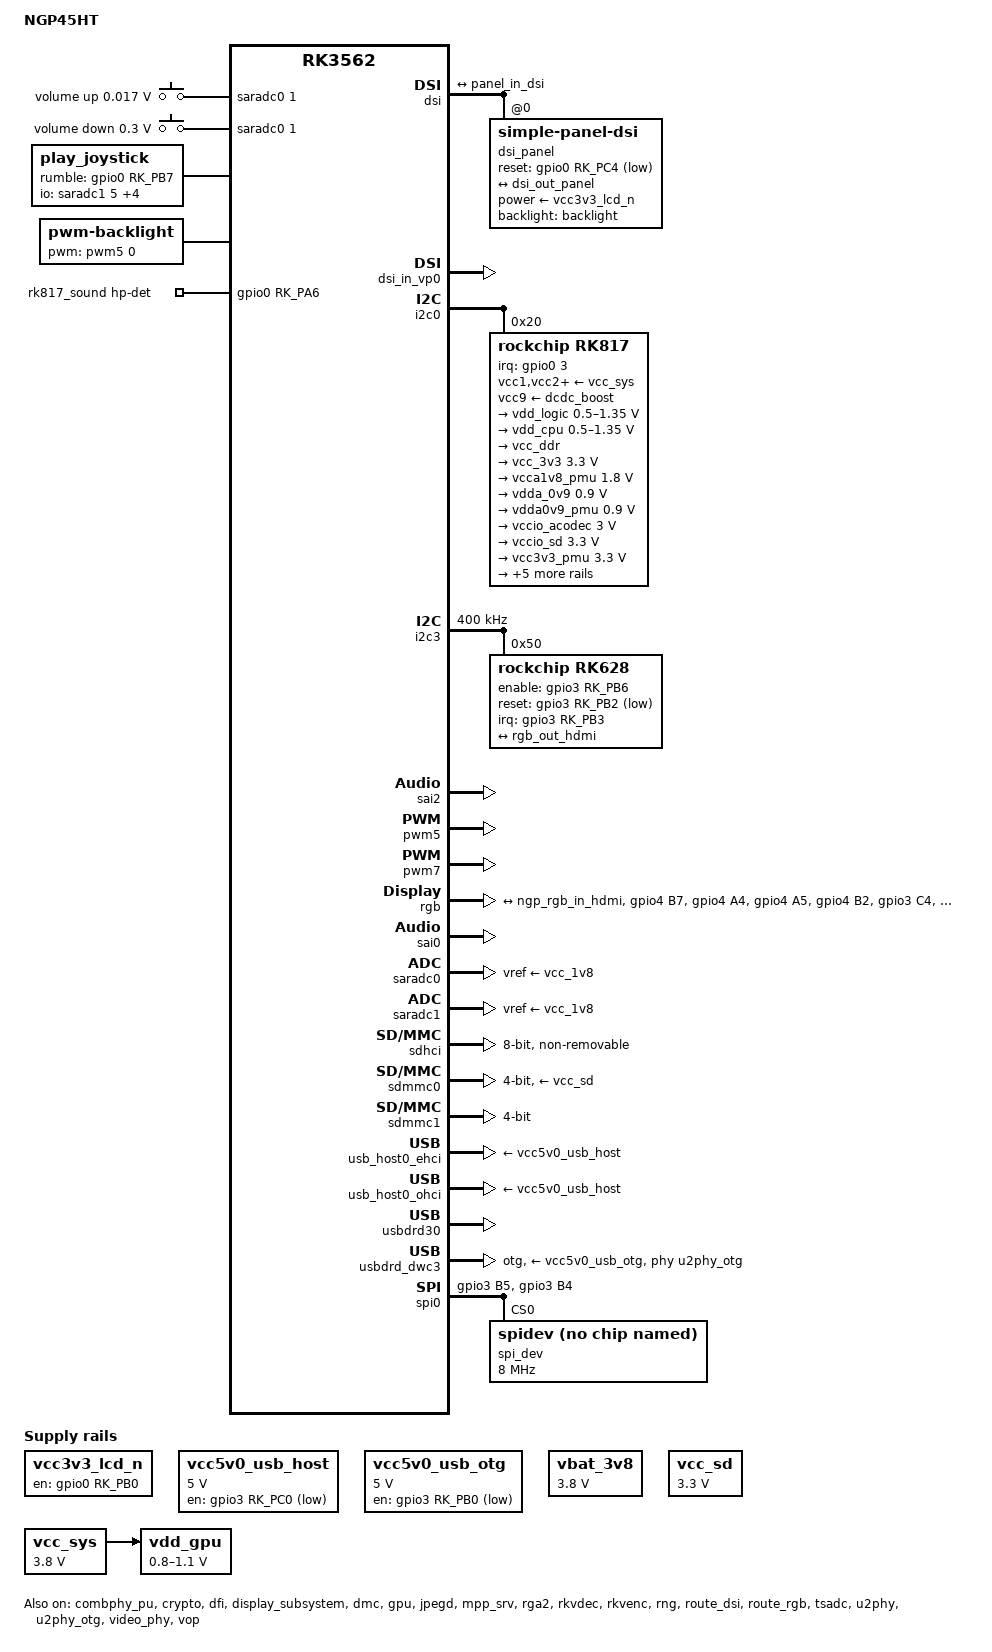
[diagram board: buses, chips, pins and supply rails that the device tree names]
// SPDX-License-Identifier: (GPL-2.0+ OR MIT)
/*
* Copyright (c) 2024 dArkOS Contributors
*
* Shared device tree include for dArkOS gaming handhelds based on
* Rockchip RK3562 with RK817 PMIC.  Included by both rk3562-rg52mini.dts
* (portrait 720x1280 panel) and rk3562-rg43h.dts (landscape 1024x768 panel).
*
* Per-device DTS files override:
*   - vcc3v3_lcd_n (gpios, enable-active-*, pinctrl-0)
*   - DSI panel (panel-init-sequence, display-timings, power-supply/enable-gpios, pinctrl-0)
*   - play_joystick node (entirely per-device)
*/

/dts-v1/;
#include "rk3562.dtsi"
#include "rk3562-linux.dtsi"
#include <dt-bindings/display/drm_mipi_dsi.h>
#include <dt-bindings/gpio/gpio.h>
#include <dt-bindings/input/input.h>
#include <dt-bindings/pinctrl/rockchip.h>

/ {
	model = "NGP45HT";
	compatible = "ngp45ht", "rockchip,rk3562";
	
	adc_keys: adc-keys {
		compatible = "adc-keys";
		io-channels = <&saradc0 1>;
		io-channel-names = "buttons";
		keyup-threshold-microvolt = <1800000>;
		poll-interval = <100>;
		autorepeat;
		/* 窗口判定半宽 (微伏): 只有落在标称电压 +/-100mV 内才算按下 */
		adc-keys,drift-microvolt = <100000>;
		
		vol-up-key {
			label = "volume up";
			linux,code = <KEY_VOLUMEUP>;
			press-threshold-microvolt = <17000>;
		};
		
		vol-down-key {
			label = "volume down";
			linux,code = <KEY_VOLUMEDOWN>;
			press-threshold-microvolt = <300000>;
		};
		
	};
	
	play_joystick {
		compatible = "play_joystick";
		pinctrl-names = "default";
		pinctrl-0 = <&gpio_key_pin &moto_gpio>;
		io-channels = <&saradc1 5>, <&saradc1 4>,
		<&saradc1 7>, <&saradc1 6>, <&saradc0 1>;
		io-channel-names = "joy_x", "joy_y", "joy_rx", "joy_ry",
				   "back-key";
		
		poll-interval = <30>;
		axis-min-value-mv = <250>;
		axis-max-value-mv = <1550>;
		axis-dead-zone-l = <790>;
		axis-dead-zone-h = <1010>;
		invert-absx;
		invert-absrx;
		rumble-gpios = <&gpio0 RK_PB7 GPIO_ACTIVE_HIGH>;
		
	sw1  { label = "BTN_R1";   gpios = <&gpio1 RK_PD3 GPIO_ACTIVE_LOW>; linux,code = <BTN_TR>; };
	sw2  { label = "BTN_R2";   gpios = <&gpio1 RK_PD4 GPIO_ACTIVE_LOW>; linux,code = <BTN_TR2>; };
	sw3  { label = "BTN_L1";   gpios = <&gpio1 RK_PD1 GPIO_ACTIVE_LOW>; linux,code = <BTN_TL>; };
	sw4  { label = "BTN_L2";   gpios = <&gpio1 RK_PD2 GPIO_ACTIVE_LOW>; linux,code = <BTN_TL2>; };
	sw5  { label = "BTN_A";    gpios = <&gpio0 RK_PC3 GPIO_ACTIVE_LOW>; linux,code = <BTN_EAST>; };
	sw6  { label = "BTN_B";    gpios = <&gpio0 RK_PC5 GPIO_ACTIVE_LOW>; linux,code = <BTN_SOUTH>; };
	sw7  { label = "BTN_X";    gpios = <&gpio2 RK_PA0 GPIO_ACTIVE_LOW>; linux,code = <BTN_NORTH>; };
	sw8  { label = "BTN_Y";    gpios = <&gpio2 RK_PA1 GPIO_ACTIVE_LOW>; linux,code = <BTN_WEST>; };
	sw9  { label = "BTN_DPAD_LEFT";  gpios = <&gpio0 RK_PB5 GPIO_ACTIVE_LOW>; linux,code = <BTN_DPAD_LEFT>; };
	sw10 { label = "BTN_DPAD_RIGHT"; gpios = <&gpio0 RK_PB6 GPIO_ACTIVE_LOW>; linux,code = <BTN_DPAD_RIGHT>; };
	sw11 { label = "BTN_DPAD_UP";    gpios = <&gpio0 RK_PB3 GPIO_ACTIVE_LOW>; linux,code = <BTN_DPAD_UP>; };
	sw12 { label = "BTN_DPAD_DOWN";  gpios = <&gpio0 RK_PB4 GPIO_ACTIVE_LOW>; linux,code = <BTN_DPAD_DOWN>; };
	sw13 { label = "BTN_SELECT";     gpios = <&gpio0 RK_PA5 GPIO_ACTIVE_LOW>; linux,code = <BTN_SELECT>; };
	sw14 { label = "BTN_START";      gpios = <&gpio3 RK_PA6 GPIO_ACTIVE_LOW>; linux,code = <BTN_START>; };
	sw15 { label = "BTN_HOME";       gpios = <&gpio1 RK_PC7 GPIO_ACTIVE_LOW>; linux,code = <BTN_MODE>; };
	sw16 { label = "BTN_L3";         gpios = <&gpio0 RK_PC6 GPIO_ACTIVE_LOW>; linux,code = <BTN_THUMBL>; };
	sw17 { label = "BTN_R3";         gpios = <&gpio0 RK_PC7 GPIO_ACTIVE_LOW>; linux,code = <BTN_THUMBR>; };

	/* FN/BACK 与音量键共用 saradc0 通道 1: 音量键由 adc-keys 按窗口处理,
	 * FN 只在这个区间 (640mV..1300mV) 里由手柄驱动上报, 互不误触. */
	back-key {
		label = "BTN_FN";
		linux,code = <BTN_TRIGGER_HAPPY1>;
		press-min-microvolt = <640000>;
		press-threshold-microvolt = <1300000>;
	};
	};
	
	backlight: backlight {
		compatible = "pwm-backlight";
		pwms = <&pwm5 0 25000 0>;
		brightness-levels = <
		0  20  20  21  21  22  22  23
		23  24  24  25  25  26  26  27
		27  28  28  29  29  30  30  31
		31  32  32  33  33  34  34  35
		35  36  36  37  37  38  38  39
		40  41  42  43  44  45  46  47
		48  49  50  51  52  53  54  55
		56  57  58  59  60  61  62  63
		64  65  66  67  68  69  70  71
		72  73  74  75  76  77  78  79
		80  81  82  83  84  85  86  87
		88  89  90  91  92  93  94  95
		96  97  98  99 100 101 102 103
		104 105 106 107 108 109 110 111
		112 113 114 115 116 117 118 119
		120 121 122 123 124 125 126 127
		128 129 130 131 132 133 134 135
		136 137 138 139 140 141 142 143
		144 145 146 147 148 149 150 151
		152 153 154 155 156 157 158 159
		160 161 162 163 164 165 166 167
		168 169 170 171 172 173 174 175
		176 177 178 179 180 181 182 183
		184 185 186 187 188 189 190 191
		192 193 194 195 196 197 198 199
		200 201 202 203 204 205 206 207
		208 209 210 211 212 213 214 215
		216 217 218 219 220 221 222 223
		224 225 226 227 228 229 230 231
		232 233 234 235 236 237 238 239
		240 241 242 243 244 245 246 247
		248 249 250 251 252 253 254 255
		>;
		default-brightness-level = <200>;
	};

	power-leds {
		compatible = "led-3562";
		battery-threshold = <20>;

		led-red {
			label = "red";
			gpios = <&gpio3 RK_PC2 GPIO_ACTIVE_HIGH>;
			on-below-threshold;
		};

		led-blue {
			label = "blue";
			gpios = <&gpio3 RK_PC1 GPIO_ACTIVE_HIGH>;
		};

	};
	
	pdm_codec: dummy-codec {
		status = "okay";
		compatible = "rockchip,dummy-codec";
		#sound-dai-cells = <0>;
	};
	
	pdm_mic_array: pdm-mic-array {
		status = "disabled";
		compatible = "simple-audio-card";
		simple-audio-card,name = "rockchip,pdm-mic-array";
		
		simple-audio-card,cpu {
			sound-dai = <&pdm>;
		};
		
		simple-audio-card,codec {
			sound-dai = <&pdm_codec>;
		};
	};
	
	spdif_out: spdif-out {
		status = "disabled";
		compatible = "linux,spdif-dit";
		#sound-dai-cells = <0>;
	};
	
	spdif_sound: spdif-sound {
		status = "disabled";
		compatible = "simple-audio-card";
		simple-audio-card,name = "rk-spdif-sound";
		simple-audio-card,mclk-fs = <128>;
		
		simple-audio-card,cpu {
			sound-dai = <&spdif_8ch>;
		};
		
		simple-audio-card,codec {
			sound-dai = <&spdif_out>;
		};
	};
	
	test-power {
		status = "okay";
	};
	
	/*
	* LCD voltage regulator skeleton.  Per-device DTS files add gpios,
	* enable-active-low/high, pinctrl-0, and status = "okay".
	*/
	vcc3v3_lcd_n: vcc3v3-lcd0-n {
		compatible = "regulator-fixed";
		regulator-name = "vcc3v3_lcd_n";
		regulator-boot-on;
		gpios = <&gpio0 RK_PB0 GPIO_ACTIVE_HIGH>;
		enable-active-high;
		pinctrl-names = "default";
		pinctrl-0 = <&ngp_lcd_pwren>;
		status = "okay";
		
		regulator-state-mem {
			regulator-off-in-suspend;
		};
	};
	vcc5v0_usb_host: vcc5v0-usb-host {
		compatible = "regulator-fixed";
		regulator-name = "vcc5v0_usb_host";
		regulator-min-microvolt = <5000000>;
		regulator-max-microvolt = <5000000>;
		regulator-always-on;
		regulator-boot-on;
		gpios = <&gpio3 RK_PC0 GPIO_ACTIVE_LOW>;
		pinctrl-names = "default";
		pinctrl-0 = <&usb_host_pwren>;
	};
	vcc5v0_usb_otg: vcc5v0-usb-otg {
		compatible = "regulator-fixed";
		regulator-name = "vcc5v0_usb_otg";
		regulator-min-microvolt = <5000000>;
		regulator-max-microvolt = <5000000>;
		gpios = <&gpio3 RK_PB0 GPIO_ACTIVE_HIGH>;
		pinctrl-names = "default";
		pinctrl-0 = <&usb_otg_pwren>;
	};
	
	rk817_sound: rk817-sound {
		status = "okay";
		compatible = "rockchip,multicodecs-card";
		rockchip,card-name = "rockchip-rk817";
		rockchip,format = "i2s";
		rockchip,mclk-fs = <256>;
		rockchip,cpu = <&sai0>;
		rockchip,codec = <&rk817_codec>;
		pinctrl-names = "default";
		hp-det-gpio = <&gpio0 RK_PA6 GPIO_ACTIVE_HIGH>;
		pinctrl-0 = <&hp_det>;
		rockchip,audio-routing =
		"Headphone", "HPOL",
		"Headphone", "HPOR",
		"Speaker", "HPOL",
		"Speaker", "HPOR";
	};
	
	rk628_sound: rk628-sound {
		compatible = "simple-audio-card";
		simple-audio-card,format = "i2s";
		simple-audio-card,mclk-fs = <128>;
		simple-audio-card,name = "rockchip,hdmi-rk628";
		status = "okay";
		
		simple-audio-card,cpu {
			sound-dai = <&sai2>;
		};
		
		simple-audio-card,codec {
			sound-dai = <&rk628>;
		};
	};
	
	sdio_pwrseq: sdio-pwrseq {
		compatible = "mmc-pwrseq-simple";
		clocks = <&rk817 1>;
		clock-names = "ext_clock";
		pinctrl-names = "default";
		pinctrl-0 = <&wifi_enable_h>;
		post-power-on-delay-ms = <200>;
		reset-gpios = <&gpio0 RK_PB3 GPIO_ACTIVE_LOW>;
		status = "disabled";
	};
	
	vbat_3v8: vbat-3v8 {
		compatible = "regulator-fixed";
		regulator-name = "vbat_3v8";
		regulator-always-on;
		regulator-boot-on;
		regulator-min-microvolt = <3800000>;
		regulator-max-microvolt = <3800000>;
	};
	
	vcc_sd: vcc-sd {
		compatible = "regulator-fixed";
		regulator-boot-on;
		regulator-always-on;
		regulator-min-microvolt = <3300000>;
		regulator-max-microvolt = <3300000>;
		regulator-name = "vcc_sd";
	};
	
	vcc_sys: vcc-sys {
		compatible = "regulator-fixed";
		regulator-name = "vcc_sys";
		regulator-always-on;
		regulator-boot-on;
		regulator-min-microvolt = <3800000>;
		regulator-max-microvolt = <3800000>;
	};
	
	vdd_gpu: vdd-gpu {
		compatible = "pwm-regulator";
		pwms = <&pwm7 0 5000 1>;
		regulator-name = "vdd_gpu";
		regulator-min-microvolt = <800000>;
		regulator-max-microvolt = <1100000>;
		regulator-init-microvolt = <900000>;
		regulator-always-on;
		regulator-boot-on;
		regulator-settling-time-up-us = <250>;
		pwm-supply = <&vcc_sys>;
		status = "okay";
	};
	
	vdd_npu: vdd-npu {
		compatible = "pwm-regulator";
		pwms = <&pwm6 0 5000 1>;
		regulator-name = "vdd_npu";
		regulator-min-microvolt = <800000>;
		regulator-max-microvolt = <1100000>;
		regulator-init-microvolt = <900000>;
		regulator-settling-time-up-us = <250>;
		pwm-supply = <&vcc_sys>;
		status = "disabled";
	};
	
	led_vcc: led-vcc {
		compatible = "regulator-fixed";
		regulator-name = "vcc-led";
		
		status = "disabled";
	};
	
	wireless_wlan: wireless-wlan {
		compatible = "wlan-platdata";
		rockchip,grf = <&sys_grf>;
		/* Rev A is RK915, rev B is AIC8800D80. rfkill is the only consumer
		* and only prefix-matches "rtl..."; aic8800 binds by SDIO vendor ID.
		* "aic8800D80" matches the silicon (fmacfw_8800d80_h_u02.bin). */
		wifi_chip_type = "aic8800D80";
		pinctrl-names = "default";
		pinctrl-0 = <&wifi_host_wake_irq &wifi_poweren_gpio>;
		WIFI,host_wake_irq = <&gpio0 RK_PB4 GPIO_ACTIVE_HIGH>;
		WIFI,poweren_gpio = <&gpio0 RK_PA6 GPIO_ACTIVE_LOW>;
		sdio_vref = <1800>;
		status = "disabled";
	};
	
	wireless-bluetooth {
		compatible = "bluetooth-platdata";
		status = "disabled";
	};
	
	charge_anim: charge-animation {
		compatible = "rockchip,uboot-charge";
		rockchip,uboot-charge-on = <1>;
		rockchip,android-charge-on = <0>;
		rockchip,uboot-low-power-voltage = <3350>;
		rockchip,screen-on-voltage = <3400>;
		status = "okay";
	};
	
	rockchip_suspend: rockchip-suspend {
		compatible = "rockchip,pm-rk3562";
		status = "disabled";
		rockchip,sleep-debug-en = <1>;
		rockchip,sleep-mode-config = <0x5e2>;
		rockchip,wakeup-config = <0x10>;
	};
};

/* ---- SoC peripheral enables ------------------------------------------- */

&cpu0 {
	cpu-supply = <&vdd_cpu>;
};

&combphy_pu {
	status = "okay";
};

&crypto {
	status = "okay";
};

&dfi {
	status = "okay";
};

&display_subsystem {
	status = "okay";
};

&dmc {
	center-supply = <&vdd_logic>;
	status = "okay";
};

&dsi {
	status = "okay";
	rockchip,lane-rate = <480>;
	
	dsi_panel: panel@0 {
		status = "okay";
		compatible = "simple-panel-dsi";
		reg = <0>;
		backlight = <&backlight>;
		enable-delay-ms = <100>;
		reset-delay-ms = <100>;
		init-delay-ms = <120>;
		prepare-delay-ms = <20>;
		unprepare-delay-ms = <20>;
		disable-delay-ms = <20>;
		width-mm = <68>;
		height-mm = <121>;
		dsi,flags = <(MIPI_DSI_MODE_VIDEO | MIPI_DSI_MODE_VIDEO_BURST |
		MIPI_DSI_MODE_LPM | MIPI_DSI_MODE_EOT_PACKET)>;
		dsi,format = <MIPI_DSI_FMT_RGB888>;
		dsi,lanes = <4>;
		reset-gpios = <&gpio0 RK_PC4 GPIO_ACTIVE_LOW>;
		pinctrl-names = "default";
		pinctrl-0 = <&lcd_rst_gpio>;
		power-supply = <&vcc3v3_lcd_n>;
		
		/*
		* panel-init-sequence, power-supply / enable-gpios, and
		* pinctrl-0 are set per-device.
		*/
		panel-init-sequence = [
		15 00 02 ee 01
		15 00 02 ea 07
		15 00 02 eb 12
		15 00 02 0a 5e
		15 00 02 13 14
		15 00 02 17 35
		15 00 02 1d 33
		15 00 02 21 01
		15 00 02 28 28
		15 00 02 29 18
		15 00 02 2a 63
		15 00 02 2f f3
		15 00 02 ee 02
		15 00 02 39 a9
		15 00 02 00 00
		15 00 02 01 0d
		15 00 02 02 12
		15 00 02 03 08
		15 00 02 04 0e
		15 00 02 05 30
		15 00 02 06 0b
		15 00 02 07 0e
		15 00 02 08 0f
		15 00 02 09 0e
		15 00 02 0a 11
		15 00 02 0b 4e
		15 00 02 0c 14
		15 00 02 0d 1a
		15 00 02 0e 2f
		15 00 02 0f 36
		15 00 02 10 3f
		15 00 02 20 00
		15 00 02 21 0d
		15 00 02 22 12
		15 00 02 23 08
		15 00 02 24 0e
		15 00 02 25 30
		15 00 02 26 0b
		15 00 02 27 0e
		15 00 02 28 0f
		15 00 02 29 0e
		15 00 02 2a 11
		15 00 02 2b 4e
		15 00 02 2c 14
		15 00 02 2d 1a
		15 00 02 2e 2f
		15 00 02 2f 36
		15 00 02 30 3f
		15 00 02 ee 04
		15 00 02 00 05
		15 00 02 01 01
		15 00 02 02 80
		15 00 02 03 04
		15 00 02 04 00
		15 00 02 06 06
		15 00 02 07 05
		15 00 02 08 1a
		15 00 02 09 20
		15 00 02 0a 0e
		15 00 02 0b 00
		15 00 02 20 40
		15 00 02 24 08
		15 00 02 ee 05
		15 00 02 00 01
		15 00 02 01 09
		15 00 02 02 05
		15 00 02 03 05
		15 00 02 07 05
		15 00 02 08 0d
		15 00 02 09 00
		15 00 02 0a 12
		15 00 02 0b 14
		15 00 02 0c 66
		15 00 02 10 03
		15 00 02 11 07
		15 00 02 12 05
		15 00 02 13 05
		15 00 02 19 12
		15 00 02 1a f6
		15 00 02 40 55
		15 00 02 41 00
		15 00 02 43 03
		15 00 02 44 01
		15 00 02 45 81
		15 00 02 46 06
		15 00 02 47 00
		15 00 02 ee 06
		15 00 02 00 45
		15 00 02 02 01
		15 00 02 04 88
		15 00 02 06 cd
		15 00 02 08 ef
		15 00 02 09 cd
		15 00 02 0a ab
		15 00 02 0b 89
		15 00 02 0c 67
		15 00 02 0d 45
		15 00 02 0e 23
		15 00 02 0f 01
		15 00 02 ee 07
		15 00 02 00 3c
		15 00 02 01 3c
		15 00 02 02 3c
		15 00 02 03 3c
		15 00 02 04 0d
		15 00 02 05 3c
		15 00 02 06 3c
		15 00 02 07 3c
		15 00 02 08 08
		15 00 02 09 10
		15 00 02 0a 12
		15 00 02 0b 14
		15 00 02 0c 16
		15 00 02 0d 18
		15 00 02 0e 1a
		15 00 02 0f 1c
		15 00 02 10 1e
		15 00 02 11 04
		15 00 02 12 00
		15 00 02 13 3c
		15 00 02 14 0c
		15 00 02 15 3c
		15 00 02 20 3c
		15 00 02 21 3c
		15 00 02 22 3c
		15 00 02 23 3c
		15 00 02 24 0d
		15 00 02 25 3c
		15 00 02 26 3c
		15 00 02 27 3c
		15 00 02 28 08
		15 00 02 29 11
		15 00 02 2a 13
		15 00 02 2b 15
		15 00 02 2c 17
		15 00 02 2d 19
		15 00 02 2e 1b
		15 00 02 2f 1d
		15 00 02 30 1f
		15 00 02 31 05
		15 00 02 32 01
		15 00 02 33 3c
		15 00 02 34 0c
		15 00 02 35 3c
		15 00 02 ee 08
		15 00 02 10 00
		15 00 02 12 dc
		15 00 02 13 1c
		15 00 02 17 23
		15 00 02 18 20
		15 00 02 20 80
		15 00 02 ee 0f
		15 00 02 00 01
		15 00 02 01 00
		15 00 02 ee 00
		15 00 02 ea 00
		15 00 02 eb 00
		15 00 02 36 00
		05 c8 01 11
		05 14 01 29
		];
		panel-exit-sequence = [
		05 00 01 28
		05 00 01 10
		];
		
		disp_timings0: display-timings {
			native-mode = <&dsi_timing0>;
			
			/* Defaults from RG52 Mini; overridden per-device */
			dsi_timing0: timing0 {
				clock-frequency = <52000000>;
				hactive = <1024>;
				vactive = <768>;
				hfront-porch = <32>;
				hsync-len = <20>;
				hback-porch = <20>;
				vfront-porch = <8>;
				vsync-len = <4>;
				vback-porch = <6>;
				hsync-active = <0>;
				vsync-active = <0>;
				de-active = <0>;
				pixelclk-active = <0>;
			};
		};
		
		ports {
			#address-cells = <1>;
			#size-cells = <0>;
			
			port@0 {
				reg = <0>;
				
				panel_in_dsi: endpoint {
					remote-endpoint = <&dsi_out_panel>;
				};
			};
		};
	};
	
	ports {
		#address-cells = <1>;
		#size-cells = <0>;
		
		port@1 {
			reg = <1>;
			
			dsi_out_panel: endpoint {
				remote-endpoint = <&panel_in_dsi>;
			};
		};
	};
};

&dsi_in_vp0 {
	status = "okay";
};

&rgb_in_vp0 {
	status = "okay";
};

&gpu {
	status = "okay";
	mali-supply = <&vdd_gpu>;
};

&i2c0 {
	status = "okay";
	
	rk817: pmic@20 {
		compatible = "rockchip,rk817";
		reg = <0x20>;
		interrupt-parent = <&gpio0>;
		interrupts = <3 IRQ_TYPE_LEVEL_LOW>;
		
		pinctrl-names = "default", "pmic-sleep",
		"pmic-power-off", "pmic-reset";
		pinctrl-0 = <&pmic_int>;
		pinctrl-1 = <&soc_slppin_slp>, <&rk817_slppin_slp>;
		pinctrl-2 = <&soc_slppin_gpio>, <&rk817_slppin_pwrdn>;
		pinctrl-3 = <&soc_slppin_gpio>, <&rk817_slppin_rst>;
		rockchip,system-power-controller;
		wakeup-source;
		#clock-cells = <1>;
		clock-output-names = "rk808-clkout1", "rk808-clkout2";
		/* 1: rst regs (default in codes), 0: rst the pmic */
		pmic-reset-func = <0>;
		vcc1-supply = <&vcc_sys>;
		vcc2-supply = <&vcc_sys>;
		vcc3-supply = <&vcc_sys>;
		vcc4-supply = <&vcc_sys>;
		vcc5-supply = <&vcc_sys>;
		vcc6-supply = <&vcc_sys>;
		vcc7-supply = <&vcc_sys>;
		vcc8-supply = <&vcc_sys>;
		vcc9-supply = <&dcdc_boost>;
		pwrkey {
			status = "okay";
		};
		
		pinctrl_rk8xx: pinctrl_rk8xx {
			gpio-controller;
			#gpio-cells = <2>;
			
			rk817_slppin_null: rk817_slppin_null {
				pins = "gpio_slp";
				function = "pin_fun0";
			};
			
			rk817_slppin_slp: rk817_slppin_slp {
				pins = "gpio_slp";
				function = "pin_fun1";
			};
			
			rk817_slppin_pwrdn: rk817_slppin_pwrdn {
				pins = "gpio_slp";
				function = "pin_fun2";
			};
			
			rk817_slppin_rst: rk817_slppin_rst {
				pins = "gpio_slp";
				function = "pin_fun3";
			};
			
			rk817_ts_gpio1: rk817_ts_gpio1 {
				pins = "gpio_ts";
				function = "pin_fun1";
			};
			
			rk817_pin_ts: rk817_pin_ts {
				pins = "gpio_ts";
				function = "pin_fun0";
			};
		};
		
		regulators {
			vdd_logic: DCDC_REG1 {
				regulator-always-on;
				regulator-boot-on;
				regulator-min-microvolt = <500000>;
				regulator-max-microvolt = <1350000>;
				regulator-init-microvolt = <950000>;
				regulator-ramp-delay = <6001>;
				regulator-initial-mode = <0x2>;
				regulator-name = "vdd_logic";
				regulator-state-mem {
					regulator-off-in-suspend;
					regulator-suspend-microvolt = <900000>;
				};
			};
			
			vdd_cpu: DCDC_REG2 {
				regulator-always-on;
				regulator-boot-on;
				regulator-min-microvolt = <500000>;
				regulator-max-microvolt = <1350000>;
				regulator-init-microvolt = <1050000>;
				regulator-ramp-delay = <6001>;
				regulator-initial-mode = <0x2>;
				regulator-name = "vdd_cpu";
				regulator-state-mem {
					regulator-off-in-suspend;
				};
			};
			
			vcc_ddr: DCDC_REG3 {
				regulator-always-on;
				regulator-boot-on;
				regulator-initial-mode = <0x2>;
				regulator-name = "vcc_ddr";
				regulator-state-mem {
					regulator-on-in-suspend;
				};
			};
			
			vcc_3v3: DCDC_REG4 {
				regulator-always-on;
				regulator-boot-on;
				regulator-min-microvolt = <3300000>;
				regulator-max-microvolt = <3300000>;
				regulator-initial-mode = <0x2>;
				regulator-name = "vcc_3v3";
				regulator-state-mem {
					regulator-on-in-suspend;
					regulator-suspend-microvolt = <3300000>;
				};
			};
			
			vcca1v8_pmu: LDO_REG1 {
				regulator-always-on;
				regulator-boot-on;
				regulator-min-microvolt = <1800000>;
				regulator-max-microvolt = <1800000>;
				regulator-name = "vcca1v8_pmu";
				regulator-state-mem {
					regulator-on-in-suspend;
					regulator-suspend-microvolt = <1800000>;
				};
			};
			
			vdda_0v9: LDO_REG2 {
				regulator-always-on;
				regulator-boot-on;
				regulator-min-microvolt = <900000>;
				regulator-max-microvolt = <900000>;
				regulator-name = "vdda_0v9";
				regulator-state-mem {
					regulator-off-in-suspend;
				};
			};
			
			vdda0v9_pmu: LDO_REG3 {
				regulator-always-on;
				regulator-boot-on;
				regulator-min-microvolt = <900000>;
				regulator-max-microvolt = <900000>;
				regulator-name = "vdda0v9_pmu";
				regulator-state-mem {
					regulator-on-in-suspend;
					regulator-suspend-microvolt = <900000>;
				};
			};
			
			vccio_acodec: LDO_REG4 {
				regulator-always-on;
				regulator-boot-on;
				regulator-min-microvolt = <3000000>;
				regulator-max-microvolt = <3000000>;
				regulator-name = "vccio_acodec";
				regulator-state-mem {
					regulator-off-in-suspend;
				};
			};
			
			vccio_sd: LDO_REG5 {
				regulator-always-on;
				regulator-boot-on;
				regulator-min-microvolt = <3300000>;
				regulator-max-microvolt = <3300000>;
				regulator-name = "vccio_sd";
				regulator-state-mem {
					regulator-off-in-suspend;
				};
			};
			
			vcc3v3_pmu: LDO_REG6 {
				regulator-always-on;
				regulator-boot-on;
				regulator-min-microvolt = <3300000>;
				regulator-max-microvolt = <3300000>;
				regulator-name = "vcc3v3_pmu";
				regulator-state-mem {
					regulator-on-in-suspend;
					regulator-suspend-microvolt = <3000000>;
				};
			};
			
			vcc_1v8: LDO_REG7 {
				regulator-always-on;
				regulator-boot-on;
				regulator-min-microvolt = <1800000>;
				regulator-max-microvolt = <1800000>;
				regulator-name = "vcc_1v8";
				regulator-state-mem {
					regulator-off-in-suspend;
				};
			};
			
			vcc1v8_dvp: LDO_REG8 {
				regulator-min-microvolt = <3300000>;
				regulator-max-microvolt = <3300000>;
				regulator-always-on;
				regulator-boot-on;
				regulator-name = "vcc1v8_dvp";
				regulator-state-mem {
					regulator-off-in-suspend;
				};
			};
			
			vcc2v8_dvp: LDO_REG9 {
				regulator-min-microvolt = <2800000>;
				regulator-max-microvolt = <2800000>;
				regulator-name = "vcc2v8_dvp";
				regulator-state-mem {
					regulator-off-in-suspend;
				};
			};
			
			dcdc_boost: BOOST {
				regulator-always-on;
				regulator-boot-on;
				regulator-min-microvolt = <4700000>;
				regulator-max-microvolt = <5400000>;
				regulator-name = "boost";
				regulator-state-mem {
					regulator-off-in-suspend;
				};
			};
			
			otg_switch: OTG_SWITCH {
				regulator-name = "otg_switch";
				regulator-state-mem {
					regulator-off-in-suspend;
				};
			};
		};
		
		battery {
			compatible = "rk817,battery";
			ocv_table = <
			3300 3350 3400 3450 3500 3550 3600
			3650 3700 3750 3800 3850 3900 3940
			3980 4020 4060 4100 4130 4150 4170
			>;
			design_capacity = <3791>;
			design_qmax = <4000>;
			design_max_voltage = <4350>;
			sleep_enter_current = <150>;
			sleep_exit_current = <180>;
			sleep_filter_current = <100>;
			power_off_thresd = <3300>;
			zero_algorithm_vol = <3950>;
			max_soc_offset = <60>;
			monitor_sec = <5>;
			sample_res = <10>;
			bat_res = <127>;
			energy_mode = <0>;
			zero_reserve_dsoc = <10>;
			fb_temperature = <25>;
			virtual_power = <0>;
			rockchip,charger-use-pmic-plug;
			rocknix,fixed-usb-host-vbus;
		};
		
		charger {
			compatible = "rk817,charger";
			min_input_voltage = <4500>;
			max_input_current = <2500>;
			max_chrg_current = <2500>;
			max_chrg_voltage = <4350>;
			chrg_term_mode = <0>;
			chrg_finish_cur = <300>;
			virtual_power = <0>;
			sample_res = <10>;
			power_dc2otg = <0>;
			dc_det_adc = <0>;
			rockchip,charger-use-pmic-plug;
			rocknix,fixed-usb-host-vbus;
			otg5v_suspend_enable = <1>;
			extcon = <&u2phy>;
			gate_function_disable = <1>;
		};
		
		rk817_codec: codec {
			#sound-dai-cells = <0>;
			compatible = "rockchip,rk817-codec";
			clocks = <&mclkout_sai0>;
			clock-names = "mclk";
			assigned-clocks = <&mclkout_sai0>;
			assigned-clock-rates = <12288000>;
			pinctrl-names = "default";
			pinctrl-0 = <&i2s0m0_mclk>;
			mic-in-differential;
			use-ext-amplifier;
			spk-ctl-gpios = <&gpio0 RK_PA7 GPIO_ACTIVE_HIGH>;
			hp2extamplifier;
			hp-volume = <15>;
			spk-volume = <6>;
			hp-mute-delay-ms = <100>;
			status = "okay";
		};
	};
};


&i2c3 {
	status = "okay";
	clock-frequency = <400000>;
	
	rk628: rk628@50 {
		status = "okay";
		compatible = "rockchip,rk628";
		reg = <0x50>;
		#sound-dai-cells = <0>;
		interrupt-parent = <&gpio3>;
		interrupts = <RK_PB3 IRQ_TYPE_LEVEL_HIGH>;
		enable-gpios = <&gpio3 RK_PB6 GPIO_ACTIVE_HIGH>;
		reset-gpios = <&gpio3 RK_PB2 GPIO_ACTIVE_LOW>;
		pinctrl-names = "default";
		pinctrl-0 = <&rk628_reset &refclk_pins>;
		assigned-clocks = <&cru CLK_PMU1_WIFI>;
		assigned-clock-rates = <24000000>;
		clocks = <&cru CLK_PMU1_WIFI>;
		clock-names = "soc_24M";
		mode-sync-pol = <0>;
		rk628-rgb-in;
		rk628-hdmi-out;
		
		port {
			/*
			* Cannot reuse the dtsi's "rgb_in_hdmi" label: that one
			* still exists on the (now disabled) i2c4 node and DTC
			* rejects duplicate labels.  The RGB side below is
			* patched by absolute path instead, and the dtsi's i2c4
			* node is disabled so nothing else points at it.
			*/
			ngp_rgb_in_hdmi: endpoint {
				remote-endpoint = <&rgb_out_hdmi>;
			};
		};
	};
};

&i2c4 {
	status = "disabled";
};

&sai2 {
	status = "okay";
	pinctrl-names = "default";
	pinctrl-0 = <&i2s2m0_lrck &i2s2m0_sclk &i2s2m0_sdo>;
};

&jpegd {
	status = "okay";
};

&jpegd_mmu {
	status = "okay";
};

&mpp_srv {
	status = "okay";
};

/* pwm4 is enabled per-device -- only the RG52 Mini uses it (chassis fan).
* RG43H Pro has no fan, so we don't claim GPIO1_D1 there. */

&pwm5 {
	status = "okay";
};

/* pwm6 left disabled — drives vdd_npu, NPU is unused */

&pwm7 {
	status = "okay";
};

/* uart1 (ttyS1) -- TX-only serial link to the analog-stick RGB LED MCU.
* Enabled on both devices; the LED feature itself is OFF by default (the
* vcc-led rail stays down until the user turns it on from Options > LED
* Settings). Only uart1_tx is muxed (see mcu_uart_tx) so the RG52 Mini fan
* keeps GPIO1_D1. /usr/local/bin/ledctl drives it at 9600 8N1. */
&uart1 {
	pinctrl-names = "default";
	pinctrl-0 = <&mcu_uart_tx>;
	status = "disabled";
};

&rga2 {
	status = "okay";
};

&rga2_mmu {
	status = "okay";
};

/* rknpu + rknpu_mmu left disabled — NPU is unused, saves power */

&rkvdec {
	status = "okay";
};

&rkvdec_mmu {
	status = "okay";
};

&rkvenc {
	status = "okay";
};

&rkvenc_mmu {
	status = "okay";
};

&rng {
	status = "okay";
};

&route_dsi {
	status = "okay";
};

&route_rgb {
	status = "okay";
	connect = <&vp0_out_rgb>;
	bridge = <&rk628>;
};

&rgb {
	status = "okay";
	pinctrl-names = "default";
	pinctrl-0 = <&ngp_vo_pins>;
	
	ports {
		port@0 {
			rgb_in_vp0: endpoint@0 {
				status = "okay";
			};
		};
		port@1 {
			reg = <1>;
			
			rgb_out_hdmi: endpoint {
				remote-endpoint = <&ngp_rgb_in_hdmi>;
			};
		};
	};
};

&sai0 {
	status = "okay";
	pinctrl-names = "default";
	pinctrl-0 = <&i2s0m0_lrck
	&i2s0m0_sclk
	&i2s0m0_sdi0
	&i2s0m0_sdo0>;
};

&sai1 {
	/* 原厂固件也禁用 SAI1: i2s1m0 引脚与 rgb 显示冲突 (gpio3-22),
	* 本机 HDMI 音频走 SAI2, SAI1 无消费者。 */
	status = "disabled";
	pinctrl-names = "default";
	pinctrl-0 = <&i2s1m0_lrck
	&i2s1m0_sclk
	&i2s1m0_sdi0
	&i2s1m0_sdo0>;
};

&saradc0 {
	status = "okay";
	vref-supply = <&vcc_1v8>;
};

&saradc1 {
	status = "okay";
	vref-supply = <&vcc_1v8>;
};

&sdhci {
	bus-width = <8>;
	no-sdio;
	no-sd;
	non-removable;
	max-frequency = <200000000>;
	mmc-hs400-1_8v;
	mmc-hs400-enhanced-strobe;
	full-pwr-cycle-in-suspend;
	status = "okay";
};

&sdmmc0 {
	no-sdio;
	no-mmc;
	bus-width = <4>;
	cap-mmc-highspeed;
	cap-sd-highspeed;
	disable-wp;
	vmmc-supply = <&vcc_sd>;
	vqmmc-supply = <&vccio_sd>;
	pinctrl-names = "default";
	pinctrl-0 = <&sdmmc0_bus4 &sdmmc0_clk &sdmmc0_cmd &sdmmc0_det>;
	status = "okay";
	max-frequency = <50000000>;
};

&sdmmc1 {
	no-sdio;
	no-mmc;
	bus-width = <4>;
	disable-wp;
	cap-sd-highspeed;
	cap-mmc-highspeed;
	disable-wp;
	broken-cd;
	vqmmc-supply = <&vccio_sd>;
	max-frequency = <50000000>;
	pinctrl-names = "default";
	pinctrl-0 = <&sdmmc1_bus4 &sdmmc1_cmd &sdmmc1_clk &sdmmc1_det>;
	status = "okay";
};

&tsadc {
	status = "okay";
};

&u2phy {
	status = "okay";
};

&u2phy_host {
	vbus-supply = <&vcc5v0_usb_host>;
};

&u2phy_otg {
	status = "okay";
};

&usb_host0_ehci {
	vbus-supply = <&vcc5v0_usb_host>;
	status = "okay";
};

&usb_host0_ohci {
	vbus-supply = <&vcc5v0_usb_host>;
	status = "okay";
};

&usbdrd30 {
	status = "okay";
};

&usbdrd_dwc3 {
	status = "okay";
	dr_mode = "otg";
	extcon = <&u2phy>;
	maximum-speed = "high-speed";
	phys = <&u2phy_otg>;
	phy-names = "usb2-phy";
	snps,dis_u2_susphy_quirk;
	snps,usb2-lpm-disable;
	vbus-supply = <&vcc5v0_usb_otg>;
};

&video_phy {
	status = "okay";
};

&vop {
	status = "okay";
};

&vop_mmu {
	status = "okay";
};

/* VOP port@0 — DSI connector: set plane-mask for all dArkOS devices */
&vp0 {
	rockchip,plane-mask = <0x30c>;
	rockchip,primary-plane = <0x02>;
};

&spi0 {
	status = "okay";
	pinctrl-names = "default";
	pinctrl-0 = <&ngp_spi0_pins>;
	
	spi_dev@0 {
		compatible = "rockchip,spidev";
		reg = <0>;
		spi-max-frequency = <8000000>;
	};
};

/* ---- Pin control ------------------------------------------------------ */

&pinctrl {
	headphone {
		hp_det: hp-det {
			rockchip,pins = <0 RK_PA6 RK_FUNC_GPIO &pcfg_pull_up>;
		};
	};
	
	vo {
		ngp_vo_pins: ngp-vo-pins {
			rockchip,pins =
			<4 RK_PB7 1 &pcfg_pull_none>,
			<4 RK_PA4 1 &pcfg_pull_none>,
			<4 RK_PA5 1 &pcfg_pull_none>,
			<4 RK_PB2 1 &pcfg_pull_none>,
			<3 RK_PC4 1 &pcfg_pull_none>,
			<3 RK_PC5 1 &pcfg_pull_none>,
			<3 RK_PC6 1 &pcfg_pull_none>,
			<3 RK_PC7 1 &pcfg_pull_none>,
			<3 RK_PD0 1 &pcfg_pull_none>,
			<4 RK_PA6 1 &pcfg_pull_none>,
			<4 RK_PA7 1 &pcfg_pull_none>,
			<3 RK_PD1 1 &pcfg_pull_none>,
			<3 RK_PD2 1 &pcfg_pull_none>,
			<3 RK_PD3 1 &pcfg_pull_none>,
			<3 RK_PD4 1 &pcfg_pull_none>,
			<3 RK_PD5 1 &pcfg_pull_none>,
			<3 RK_PD6 1 &pcfg_pull_none>,
			<4 RK_PB0 1 &pcfg_pull_none>,
			<4 RK_PB1 1 &pcfg_pull_none>,
			<4 RK_PB3 1 &pcfg_pull_none>,
			<3 RK_PD7 1 &pcfg_pull_none>,
			<4 RK_PA0 1 &pcfg_pull_none>,
			<4 RK_PA1 1 &pcfg_pull_none>,
			<4 RK_PA2 1 &pcfg_pull_none>,
			<4 RK_PA3 1 &pcfg_pull_none>,
			<4 RK_PB6 1 &pcfg_pull_none>,
			<4 RK_PB4 1 &pcfg_pull_none>,
			<4 RK_PB5 1 &pcfg_pull_none>;
		};
	};
	
	lcd {
		lcd_rst_gpio: lcd-rst-gpio {
			rockchip,pins = <0 RK_PC4 RK_FUNC_GPIO &pcfg_pull_none>;
		};
		ngp_lcd_pwren: ngp-lcd-pwren {
			rockchip,pins = <0 RK_PB0 RK_FUNC_GPIO &pcfg_pull_none>;
		};
	};
	spi0-ngp45h {
		ngp_spi0_pins: spi0m1-pins-ngp45h {
			rockchip,pins =
			<3 RK_PB5 4 &pcfg_pull_none>,
			<3 RK_PB4 4 &pcfg_pull_none>;
		};
	};
	
	sdio-pwrseq {
		wifi_enable_h: wifi-enable-h {
			rockchip,pins = <0 RK_PB3 RK_FUNC_GPIO &pcfg_pull_none>;
		};
	};
	
	wireless-wlan {
		wifi_host_wake_irq: wifi-host-wake-irq {
			rockchip,pins = <0 RK_PB4 RK_FUNC_GPIO &pcfg_pull_down>;
		};
		
		wifi_poweren_gpio: wifi-poweren-gpio {
			rockchip,pins = <0 RK_PA6 RK_FUNC_GPIO &pcfg_pull_up>;
		};
	};
	
	rk628 {
		rk628_reset: rk628-reset {
			rockchip,pins = <3 RK_PB2 RK_FUNC_GPIO &pcfg_pull_none>;
		};
		
		refclk_pins: refclk-pins {
			rockchip,pins = <0 RK_PA0 1 &pcfg_pull_none>;
		};
	};
	
	vcc-led {
		led_en_gpio: led-en-gpio {
			rockchip,pins = <0 RK_PC7 RK_FUNC_GPIO &pcfg_pull_up>;
		};
	};
	
	stick-led-mcu {
		/* uart1_tx_m0 (GPIO1_D2) ONLY. The stick-RGB LED MCU is a
		* write-only target (the mcu_led protocol never reads), so we
		* deliberately do NOT mux uart1_rx_m0 (GPIO1_D1). That leaves
		* GPIO1_D1 free for the RG52 Mini chassis fan (pwm4_m1), so the
		* fan and the LED MCU coexist on one UART pin pair. */
		mcu_uart_tx: mcu-uart-tx {
			rockchip,pins = <1 RK_PD2 1 &pcfg_pull_up>;
		};
	};
	
	fan {
		fan_vcc_en_gpio: fan-vcc-en-gpio {
			rockchip,pins = <0 RK_PC3 RK_FUNC_GPIO &pcfg_pull_none>;
		};
		
		fan_det_gpio: fan-det-gpio {
			rockchip,pins = <2 RK_PA1 RK_FUNC_GPIO &pcfg_pull_up>;
		};
	};
	
	charge-led {
		charge_led_gpio: charge-led-gpio {
			rockchip,pins =
			<3 RK_PA0 RK_FUNC_GPIO &pcfg_pull_up>,
			<3 RK_PA1 RK_FUNC_GPIO &pcfg_pull_up>;
		};
	};
	
	usb {
		usb_host_pwren: usb-host-pwren {
			rockchip,pins = <3 RK_PC0 RK_FUNC_GPIO &pcfg_pull_none>;
		};
		
		usb_otg_pwren: usb-otg-pwren {
			rockchip,pins = <3 RK_PB0 RK_FUNC_GPIO &pcfg_pull_none>;
		};
	};
	buttons {
		/*
		* All 10 button GPIOs are listed here (RG52 Mini has 10,
		* RG43H Pro has 9).  The joystick driver node is per-device;
		* each button child node carries its own gpios property.
		*/
		gpio_key_pin: gpio-key-pin {
			rockchip,pins =
			<1 RK_PD3 RK_FUNC_GPIO &pcfg_pull_up>,
			<1 RK_PD4 RK_FUNC_GPIO &pcfg_pull_up>,
			<1 RK_PD1 RK_FUNC_GPIO &pcfg_pull_up>,
			<1 RK_PD2 RK_FUNC_GPIO &pcfg_pull_up>,
			<0 RK_PC3 RK_FUNC_GPIO &pcfg_pull_up>,
			<0 RK_PC5 RK_FUNC_GPIO &pcfg_pull_up>,
			<2 RK_PA0 RK_FUNC_GPIO &pcfg_pull_up>,
			<2 RK_PA1 RK_FUNC_GPIO &pcfg_pull_up>,
			<0 RK_PB5 RK_FUNC_GPIO &pcfg_pull_up>,
			<0 RK_PB6 RK_FUNC_GPIO &pcfg_pull_up>,
			<0 RK_PB3 RK_FUNC_GPIO &pcfg_pull_up>,
			<0 RK_PB4 RK_FUNC_GPIO &pcfg_pull_up>,
			<0 RK_PA5 RK_FUNC_GPIO &pcfg_pull_up>,
			<3 RK_PA6 RK_FUNC_GPIO &pcfg_pull_up>,
			<1 RK_PC7 RK_FUNC_GPIO &pcfg_pull_up>,
			<0 RK_PC6 RK_FUNC_GPIO &pcfg_pull_up>,
			<0 RK_PC7 RK_FUNC_GPIO &pcfg_pull_up>;
		};
		
		/* 主马达 GPIO3_A7 (各机型共用). 副马达/风扇轨脚位因板而异:
		* - rg52mini/rg43h: 副马达 GPIO3_B0 -> moto_r_gpio (各自 dts)
		* - ais: GPIO3_B0 是 fan_vcc 使能, 独占, 不进 moto 组
		* - ngp45ht: 单马达 GPIO0_B7 -> ngp_moto_gpio
		* 偏置用 pull_none (原厂同款): pull_up 会在 probe 前把
		* ACTIVE_HIGH 马达脚抬高 -> 上电常震. */
		moto_gpio: moto-gpio {
			rockchip,pins = <0 RK_PB7 RK_FUNC_GPIO &pcfg_pull_none>;
		};
	};
};
